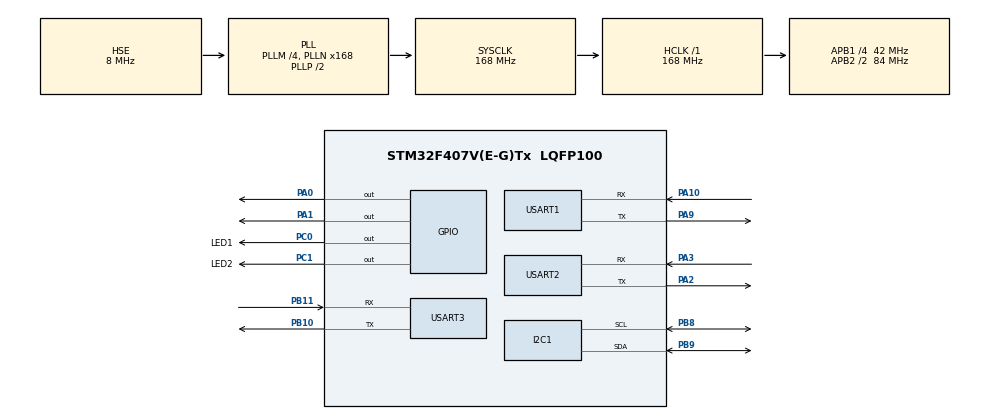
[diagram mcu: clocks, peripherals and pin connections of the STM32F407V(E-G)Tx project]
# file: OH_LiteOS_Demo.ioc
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Dma.Request0=USART1_TX
Dma.Request1=USART3_TX
Dma.USART1_TX.0.Direction=DMA_MEMORY_TO_PERIPH
Dma.USART1_TX.0.FIFOMode=DMA_FIFOMODE_DISABLE
Dma.USART1_TX.0.Instance=DMA2_Stream7
Dma.USART1_TX.0.MemDataAlignment=DMA_MDATAALIGN_BYTE
Dma.USART1_TX.0.MemInc=DMA_MINC_ENABLE
Dma.USART1_TX.0.Mode=DMA_NORMAL
Dma.USART1_TX.0.PeriphDataAlignment=DMA_PDATAALIGN_BYTE
Dma.USART1_TX.0.PeriphInc=DMA_PINC_DISABLE
Dma.USART1_TX.0.Priority=DMA_PRIORITY_LOW
Dma.USART3_TX.1.Direction=DMA_MEMORY_TO_PERIPH
Dma.USART3_TX.1.FIFOMode=DMA_FIFOMODE_DISABLE
Dma.USART3_TX.1.Instance=DMA1_Stream3
Dma.USART3_TX.1.MemDataAlignment=DMA_MDATAALIGN_BYTE
Dma.USART3_TX.1.MemInc=DMA_MINC_ENABLE
Dma.USART3_TX.1.Mode=DMA_NORMAL
Dma.USART3_TX.1.PeriphDataAlignment=DMA_PDATAALIGN_BYTE
Dma.USART3_TX.1.PeriphInc=DMA_PINC_DISABLE
Dma.USART3_TX.1.Priority=DMA_PRIORITY_LOW
Mcu.Family=STM32F4
Mcu.Name=STM32F407V(E-G)Tx
Mcu.Package=LQFP100
NVIC.DMA1_Stream3_IRQn=true\:0\:0\:false\:false\:true\:false\:true\:true
NVIC.DMA2_Stream7_IRQn=true\:0\:0\:false\:false\:true\:false\:true\:true
NVIC.PriorityGroup=NVIC_PRIORITYGROUP_4
NVIC.TIM7_IRQn=true\:15\:0\:false\:false\:true\:false\:true\:true
NVIC.TimeBase=TIM7_IRQn
NVIC.TimeBaseIP=TIM7
NVIC.USART2_IRQn=true\:0\:0\:false\:false\:true\:true\:true\:true
NVIC.USART3_IRQn=true\:0\:0\:false\:false\:true\:true\:true\:true
PA0-WKUP.Signal=GPIO_Output
PA1.Signal=GPIO_Output
PA10.Mode=Asynchronous
PA10.Signal=USART1_RX
PA13.Mode=Serial_Wire
PA13.Signal=SYS_JTMS-SWDIO
PA14.Mode=Serial_Wire
PA14.Signal=SYS_JTCK-SWCLK
PA2.Mode=Asynchronous
PA2.Signal=USART2_TX
PA3.Mode=Asynchronous
PA3.Signal=USART2_RX
PA9.Mode=Asynchronous
PA9.Signal=USART1_TX
PB10.Mode=Asynchronous
PB10.Signal=USART3_TX
PB11.Mode=Asynchronous
PB11.Signal=USART3_RX
PB8.GPIO_Pu=GPIO_NOPULL
PB8.GPIO_Speed=GPIO_SPEED_FREQ_HIGH
PB8.Mode=I2C
PB8.Signal=I2C1_SCL
PB9.GPIO_Pu=GPIO_NOPULL
PB9.GPIO_Speed=GPIO_SPEED_FREQ_HIGH
PB9.Mode=I2C
PB9.Signal=I2C1_SDA
PC0.GPIO_Label=LED1
PC0.GPIO_ModeDefaultOutputPP=GPIO_MODE_OUTPUT_PP
PC0.GPIO_PuPd=GPIO_PULLUP
PC0.GPIO_Speed=GPIO_SPEED_FREQ_LOW
PC0.PinState=GPIO_PIN_SET
PC0.Signal=GPIO_Output
PC1.GPIO_Label=LED2
PC1.GPIO_ModeDefaultOutputPP=GPIO_MODE_OUTPUT_PP
PC1.GPIO_PuPd=GPIO_PULLUP
PC1.GPIO_Speed=GPIO_SPEED_FREQ_LOW
PC1.PinState=GPIO_PIN_SET
PC1.Signal=GPIO_Output
PC14-OSC32_IN.Mode=LSE-External-Oscillator
PC14-OSC32_IN.Signal=RCC_OSC32_IN
PC15-OSC32_OUT.Mode=LSE-External-Oscillator
PC15-OSC32_OUT.Signal=RCC_OSC32_OUT
PH0-OSC_IN.Mode=HSE-External-Oscillator
PH0-OSC_IN.Signal=RCC_OSC_IN
PH1-OSC_OUT.Mode=HSE-External-Oscillator
PH1-OSC_OUT.Signal=RCC_OSC_OUT
ProjectManager.HeapSize=0x200
ProjectManager.StackSize=0x400
ProjectManager.TargetToolchain=MDK-ARM V5.32
RCC.48MHZClocksFreq_Value=84000000
RCC.AHBFreq_Value=168000000
RCC.APB1CLKDivider=RCC_HCLK_DIV4
RCC.APB1Freq_Value=42000000
RCC.APB1TimFreq_Value=84000000
RCC.APB2CLKDivider=RCC_HCLK_DIV2
RCC.APB2Freq_Value=84000000
RCC.APB2TimFreq_Value=168000000
RCC.CortexFreq_Value=168000000
RCC.HCLKFreq_Value=168000000
RCC.HSE_VALUE=8000000
RCC.HSI_VALUE=16000000
RCC.PLLM=4
RCC.PLLN=168
RCC.PLLSourceVirtual=RCC_PLLSOURCE_HSE
RCC.SYSCLKFreq_VALUE=168000000
RCC.SYSCLKSource=RCC_SYSCLKSOURCE_PLLCLK
RCC.VCOOutputFreq_Value=336000000
USART1.VirtualMode=VM_ASYNC
USART2.VirtualMode=VM_ASYNC
USART3.VirtualMode=VM_ASYNC
VP_SYS_VS_tim7.Mode=TIM7
board=custom

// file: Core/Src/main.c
/* USER CODE BEGIN Header */
/**
  ******************************************************************************
  * @file           : main.c
  * @brief          : Main program body
  ******************************************************************************
  * @attention
  *
  * Copyright (c) 2025 STMicroelectronics.
  * All rights reserved.
  *
  * This software is licensed under terms that can be found in the LICENSE file
  * in the root directory of this software component.
  * If no LICENSE file comes with this software, it is provided AS-IS.
  *
  ******************************************************************************
  */
/* USER CODE END Header */
#include "main.h"
#include "dma.h"
#include "i2c.h"
#include "usart.h"
#include "gpio.h"

/* USER CODE BEGIN Includes */
#include <string.h>
#include "oled.h"
#include "esp01s.h"
/* USER CODE END Includes */

void SystemClock_Config(void);

/* USER CODE BEGIN 0 */
#include "stdio.h"

int fputc(int ch, FILE *f)
{
    HAL_UART_Transmit(&huart1, (uint8_t *)&ch, 1, HAL_MAX_DELAY);
    return ch;
}

#include "los_task.h"
//task1

static void TaskEntry1(void) {
//		// 订阅主题
//    if (!MQTT_Subscribe("stm32/clear", 0)) {
//        printf("[MQTT] Subscription failed!\n");
//    } else {
//        printf("[MQTT] Subscribed to stm32/clear\n");
//    }
	while (1)  {

           MQTT_ProcessReceivedData();
//		     printf("Current MQTT Payload: %s\n", mqtt_payload_buffer);
        if (strcmp(mqtt_payload_buffer, "0") == 0) {
            HAL_GPIO_WritePin(GPIOA, GPIO_PIN_0, GPIO_PIN_RESET); // 关洒水
            HAL_GPIO_WritePin(GPIOA, GPIO_PIN_1, GPIO_PIN_RESET); // 关打扫
            OLED_Clear();
            OLED_ShowString(2, 2, "all off", 12, 0);
					  LOS_Msleep(2);
					  printf("Current MQTT Payload: %s\n", mqtt_payload_buffer);
        } else if (strcmp(mqtt_payload_buffer, "1") == 0) {
            HAL_GPIO_WritePin(GPIOA, GPIO_PIN_0, GPIO_PIN_SET);   // 开洒水
            HAL_GPIO_WritePin(GPIOA, GPIO_PIN_1, GPIO_PIN_RESET); // 关打扫
            OLED_Clear();
            OLED_ShowString(2, 2, "watering", 12, 0);
					  LOS_Msleep(2);
					  printf("Current MQTT Payload: %s\n", mqtt_payload_buffer);
        } else if (strcmp(mqtt_payload_buffer, "2") == 0) {
            HAL_GPIO_WritePin(GPIOA, GPIO_PIN_0, GPIO_PIN_RESET); // 关洒水
            HAL_GPIO_WritePin(GPIOA, GPIO_PIN_1, GPIO_PIN_SET);   // 开打扫
            OLED_Clear();
            OLED_ShowString(2, 2, "cleaning", 12, 0);
					  LOS_Msleep(2);
					printf("Current MQTT Payload: %s\n", mqtt_payload_buffer);
        } else if (strcmp(mqtt_payload_buffer, "3") == 0) {
            HAL_GPIO_WritePin(GPIOA, GPIO_PIN_0, GPIO_PIN_SET);   // 开洒水
            HAL_GPIO_WritePin(GPIOA, GPIO_PIN_1, GPIO_PIN_SET);   // 开打扫
            OLED_Clear();
            OLED_ShowString(2, 2, "both on", 12, 0);
					  LOS_Msleep(2);
					printf("Current MQTT Payload: %s\n", mqtt_payload_buffer);
        }

           }
}

//task2
static void TaskEntry2(void) {
	while (1)  {
		HAL_GPIO_TogglePin(LED2_GPIO_Port, LED2_Pin);
		LOS_Msleep(2);
//		printf("Task 2 is working....\n");
	}
}

//task3_openmv
extern int distance, x_coordinate, y_coordinate;
void sendToESP8266_string(uint8_t *data, uint16_t len);
uint32_t last_publish = 0;
static void TaskEntry3(void) {
     while (1)
    {
//			  uint32_t now = HAL_GetTick();
//			   char openmvJson1[64];
//			   char openmvJson2[64];
//			   char openmvJson3[64];
////			   char test[64];
//      if (now - last_publish >= 5000)
//			 {
//				 printf("[OpenMV] Distance: %d mm, X: %d, Y: %d\r\n", distance, x_coordinate, y_coordinate);
//         snprintf(openmvJson1, sizeof(openmvJson1),
//					 "{\'04\':%d}",
//                 distance);
//				 snprintf(openmvJson2, sizeof(openmvJson2),
//					 "{\'02\':%d}",
//                 x_coordinate);
//				 	snprintf(openmvJson3, sizeof(openmvJson3),
//					 "{\'03\':%d}",
//                 y_coordinate);
////				 snprintf(test, sizeof(test), "Hello from OpenHarmony! Tick: %lu", now);
//				    // 打印即将发送的数据
//            printf("[DEBUG] Ready to publish: %s\n", openmvJson1);
//				    printf("[DEBUG] Ready to publish: %s\n", openmvJson2);
//            // 发布 MQTT 数据
//            if (MQTT_Publish("stm32/openmv1", openmvJson1, 0, false)) {
//                printf("[MQTT] Published OpenMV Data: %s\n", openmvJson1);
//            } else {
//                printf("[MQTT] Failed to publish OpenMV Data\n");
//            }
//
//            if (MQTT_Publish("stm32/openmv2", openmvJson2, 0, false)) {
//                printf("[MQTT] Published OpenMV Data: %s\n", openmvJson2);
//            } else {
//                printf("[MQTT] Failed to publish OpenMV Data\n");
//            }
//						 if (MQTT_Publish("stm32/openmv3", openmvJson3, 0, false)) {
//                printf("[MQTT] Published OpenMV Data: %s\n", openmvJson3);
//            } else {
//                printf("[MQTT] Failed to publish OpenMV Data\n");
//            }
//        last_publish = now;
//       }
//        LOS_Msleep(1000);  // 小睡一会，避免空跑 CPU
    }
}

//task4: MQTT处理任务
static void TaskEntry4(void) {
    printf("[MQTT] Task4 started\n");

    // 初始化 ESP01s 模块
    if (!ESP01S_Init()) {
        printf("[MQTT] ESP01S init failed!\n");
        while (1) LOS_Msleep(100
					);
    }
    printf("[MQTT] ESP01S init OK\n");

    // 订阅主题
    if (!MQTT_Subscribe("stm32/clear", 0)) {
        printf("[MQTT] Subscription failed!\n");
    } else {
        printf("[MQTT] Subscribed to stm32/clear\n");
    }

    // 发布循环
//    uint32_t last_publish = 0;
    while (1) {
//        MQTT_ProcessReceivedData();

//        uint32_t now = HAL_GetTick();
//        if (now - last_publish >= 5000) {
//            char msg[64];
//            snprintf(msg, sizeof(msg), "Hello from OpenHarmony! Tick: %lu", now);
//            MQTT_Publish("stm32/data", msg, 0, false);
//            printf("[MQTT] Published: %s\n", msg);
//            last_publish = now;
        }

//        LOS_Msleep(200); // 稍作延时
    }

/* USER CODE END 0 */

int main(void)
{

  /* MCU Configuration--------------------------------------------------------*/

  /* Reset of all peripherals, Initializes the Flash interface and the Systick. */
  HAL_Init();

  /* Configure the system clock */
  SystemClock_Config();

  /* Initialize all configured peripherals */
  MX_GPIO_Init();
  MX_DMA_Init();
  MX_USART1_UART_Init();
  MX_I2C1_Init();
  MX_USART2_UART_Init();
  MX_USART3_UART_Init();
  /* USER CODE BEGIN 2 */
	printf("SYS Init Ok\n");
  LOS_KernelInit();

	OLED_Init();                           //OLED��ʼ
	OLED_Clear();                         //����
	OLED_ShowString(0,0,"INIT OK",16, 0);    //������ʾ8X16�ַ���
	LOS_Msleep(100);
	OLED_Clear();
	HAL_UART_Receive_IT(&huart2, &c, 1);

//  //start task 1
	unsigned int ret;
	unsigned int taskID1;
	TSK_INIT_PARAM_S task1 = { 0 };
	task1.pfnTaskEntry = (TSK_ENTRY_FUNC)TaskEntry1;
	task1.uwStackSize  = 0x1000;
	task1.pcName       = "TaskEntry1";
	task1.usTaskPrio   = 6;
	ret = LOS_TaskCreate(&taskID1, &task1);
	if (ret != LOS_OK) {
	  printf("Task1 init Fail!\n");
	  while(1) {
		}
	}
  //start task 2
	unsigned int taskID2;
	TSK_INIT_PARAM_S task2 = { 0 };
	task2.pfnTaskEntry = (TSK_ENTRY_FUNC)TaskEntry2;
	task2.uwStackSize  = 0x1000;
	task2.pcName       = "TaskEntry2";
	task2.usTaskPrio   = 5;
	ret = LOS_TaskCreate(&taskID2, &task2);
	if (ret != LOS_OK) {
	  printf("Task2 init Fail!\n");
	  while(1) {
		}
	}

	//start task 3
	unsigned int taskID3;
  TSK_INIT_PARAM_S task3 = { 0 };
  task3.pfnTaskEntry = (TSK_ENTRY_FUNC)TaskEntry3;
  task3.uwStackSize  = 0x1000;
  task3.pcName       = "TaskEntry3";
  task3.usTaskPrio   = 7;
  ret = LOS_TaskCreate(&taskID3, &task3);
  if (ret != LOS_OK) {
    printf("Task3 init Fail!\n");
    while(1);
}

  //start task 4
  unsigned int taskID4;
  TSK_INIT_PARAM_S task4 = { 0 };
  task4.pfnTaskEntry = (TSK_ENTRY_FUNC)TaskEntry4;
  task4.uwStackSize  = 0x1000;
  task4.pcName       = "TaskEntry4_MQTT";
  task4.usTaskPrio   = 6;
  ret = LOS_TaskCreate(&taskID4, &task4);
  if (ret != LOS_OK) {
    printf("Task4 MQTT init Fail!\n");
    while(1);
  }

	//start LOS
	LOS_Start();
  /* USER CODE END 2 */

  /* Infinite loop */
  while (1)
  {

  }
}

void SystemClock_Config(void)
{
  RCC_OscInitTypeDef RCC_OscInitStruct = {0};
  RCC_ClkInitTypeDef RCC_ClkInitStruct = {0};

  /** Configure the main internal regulator output voltage
  */
  __HAL_RCC_PWR_CLK_ENABLE();
  __HAL_PWR_VOLTAGESCALING_CONFIG(PWR_REGULATOR_VOLTAGE_SCALE1);

  /** Initializes the RCC Oscillators according to the specified parameters
  * in the RCC_OscInitTypeDef structure.
  */
  RCC_OscInitStruct.OscillatorType = RCC_OSCILLATORTYPE_HSE;
  RCC_OscInitStruct.HSEState = RCC_HSE_ON;
  RCC_OscInitStruct.PLL.PLLState = RCC_PLL_ON;
  RCC_OscInitStruct.PLL.PLLSource = RCC_PLLSOURCE_HSE;
  RCC_OscInitStruct.PLL.PLLM = 4;
  RCC_OscInitStruct.PLL.PLLN = 168;
  RCC_OscInitStruct.PLL.PLLP = RCC_PLLP_DIV2;
  RCC_OscInitStruct.PLL.PLLQ = 4;
  if (HAL_RCC_OscConfig(&RCC_OscInitStruct) != HAL_OK)
  {
    Error_Handler();
  }

  /** Initializes the CPU, AHB and APB buses clocks
  */
  RCC_ClkInitStruct.ClockType = RCC_CLOCKTYPE_HCLK|RCC_CLOCKTYPE_SYSCLK
                              |RCC_CLOCKTYPE_PCLK1|RCC_CLOCKTYPE_PCLK2;
  RCC_ClkInitStruct.SYSCLKSource = RCC_SYSCLKSOURCE_PLLCLK;
  RCC_ClkInitStruct.AHBCLKDivider = RCC_SYSCLK_DIV1;
  RCC_ClkInitStruct.APB1CLKDivider = RCC_HCLK_DIV4;
  RCC_ClkInitStruct.APB2CLKDivider = RCC_HCLK_DIV2;

  if (HAL_RCC_ClockConfig(&RCC_ClkInitStruct, FLASH_LATENCY_5) != HAL_OK)
  {
    Error_Handler();
  }
}

/* USER CODE BEGIN 4 */
//void sendToESP8266_string(uint8_t *data, uint16_t len)
//{
//    HAL_UART_Transmit(&huart3, data, len, HAL_MAX_DELAY);

//    uint8_t newline = '\n';
//    HAL_UART_Transmit(&huart3, &newline, 1, HAL_MAX_DELAY);
//}
/* USER CODE END 4 */

void HAL_TIM_PeriodElapsedCallback(TIM_HandleTypeDef *htim)
{
  if (htim->Instance == TIM7)
  {
    HAL_IncTick();
  }
}

void Error_Handler(void)
{
  __disable_irq();
  while (1)
  {
  }
}
